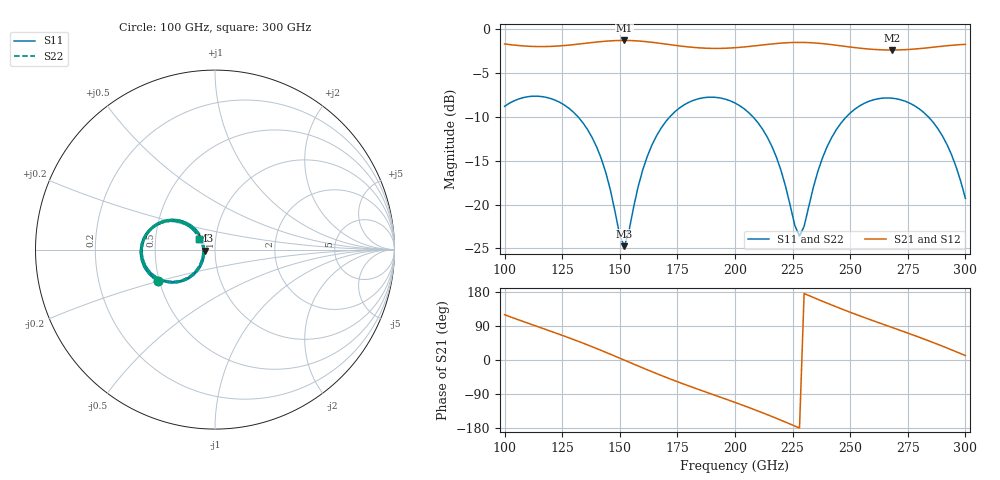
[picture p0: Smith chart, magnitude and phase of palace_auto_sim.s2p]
#  GHZ S DB R 50
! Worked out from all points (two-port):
!   101 points, 100 GHz to 300 GHz, reference 50 ohm
!   highest |S21| = -1.26 dB at 152 GHz (marker M1); lowest = -2.3 dB at 268 GHz (marker M2)
!   |S21| within 3 dB of the highest: start of sweep to end of sweep
!   lowest |S11| = -24.7 dB at 152 GHz (marker M3), VSWR 1.12, Z = 44.5 - j0.525 ohm
!   |S11| at or under -10 dB: 132 GHz to 171.6 GHz (39.68 GHz wide, 26.1 % of centre); 207.9 GHz to 248.2 GHz (40.36 GHz wide, 17.7 % of centre); 284 GHz to end of sweep
!   |S22| runs from -24.5 to -7.6 dB; largest |S21 - S12| = 1.5e-15
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100  -8.77 -151.4  -1.65 119.5  -1.65 119.5  -8.77 -151.3
118  -7.75 174.3  -1.95 80.3  -1.95 80.3  -7.74 174.4
134  -10.66 144.9  -1.61 44.5  -1.61 44.5  -10.65 145.1
142  -14.77 133.9  -1.38 25.1  -1.38 25.1  -14.75 134.3
150  -23.55 156.9  -1.26 4.8  -1.26 4.8  -23.40 157.5
152  -24.74 -174.2  -1.26 -0.4  -1.26 -0.4  -24.53 -174.3
160  -15.99 -128.9  -1.36 -21.0  -1.36 -21.0  -15.96 -129.3
168  -11.24 -138.1  -1.60 -40.8  -1.60 -40.8  -11.23 -138.3
184  -7.92 -167.2  -2.09 -77.3  -2.09 -77.3  -7.92 -167.2
200  -8.40 163.6  -2.08 -111.9  -2.08 -111.9  -8.39 163.7
208  -10.03 149.5  -1.89 -130.0  -1.89 -130.0  -10.02 149.6
216  -13.33 137.8  -1.66 -149.1  -1.66 -149.1  -13.32 138.1
228  -23.58 -178.6  -1.48 -179.5  -1.48 -179.5  -23.38 -178.7
234  -18.03 -134.1  -1.53 165.1  -1.53 165.1  -17.98 -134.7
240  -13.37 -134.0  -1.67 150.0  -1.67 150.0  -13.35 -134.4
248  -10.06 -145.7  -1.94 130.7  -1.94 130.7  -10.06 -146.0
258  -8.21 -163.4  -2.23 108.0  -2.23 108.0  -8.21 -163.6
268  -7.84 178.7  -2.35 86.2  -2.35 86.2  -7.84 178.6
278  -8.72 161.1  -2.23 64.4  -2.23 64.4  -8.72 160.9
288  -11.30 144.8  -1.97 41.4  -1.97 41.4  -11.30 144.6
294  -14.30 138.5  -1.81 26.8  -1.81 26.8  -14.31 138.4
300  -19.27 145.6  -1.70 11.6  -1.70 11.6  -19.29 145.5
